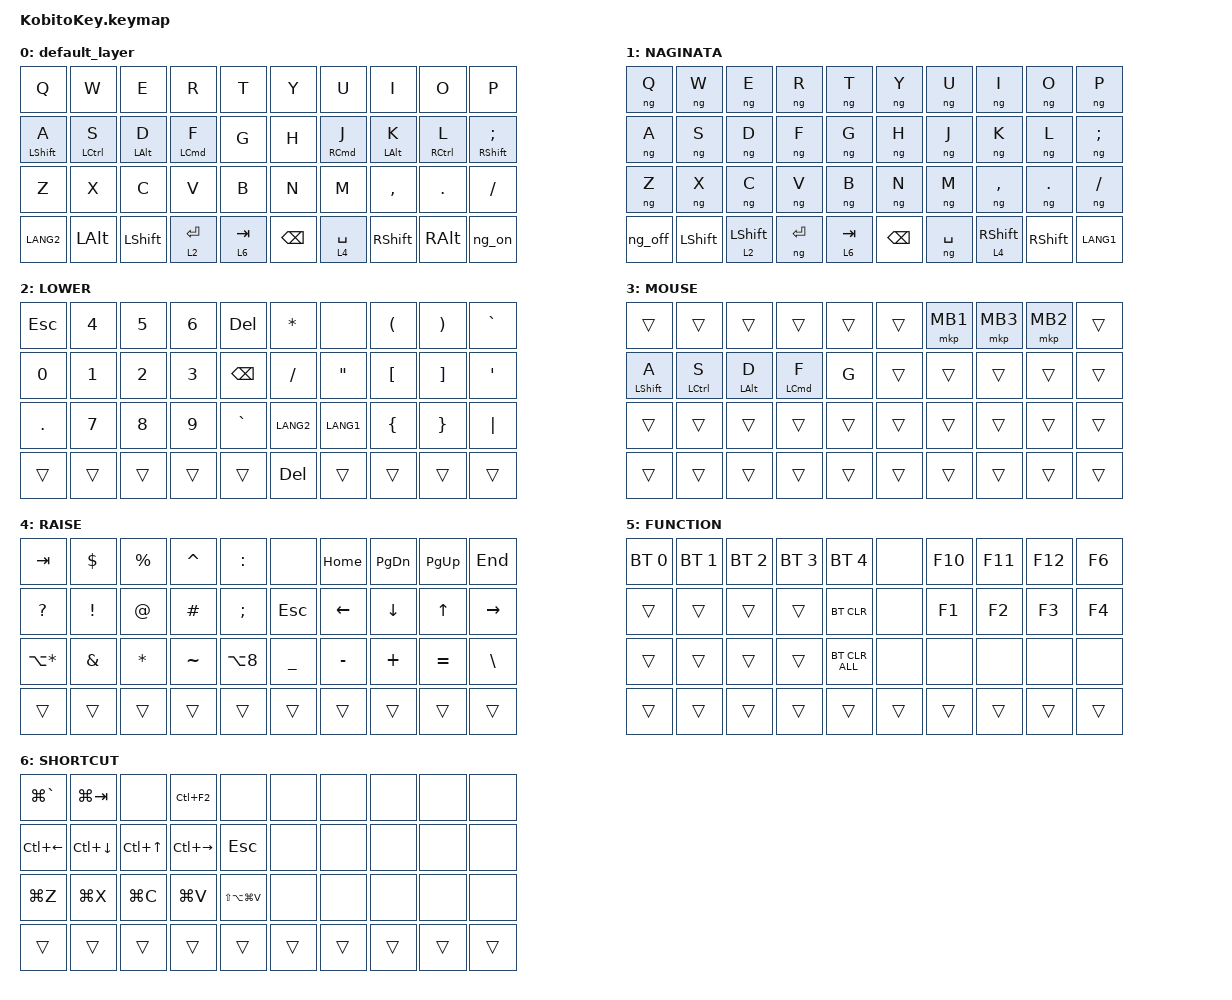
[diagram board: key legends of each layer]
#include <input/processors.dtsi>
#include <behaviors.dtsi>
#include <behaviors/naginata.dtsi>
#include <dt-bindings/zmk/bt.h>
#include <dt-bindings/zmk/keys.h>
#include <dt-bindings/zmk/pointing.h>

&lt {
    flavor = "hold-preferred";
    tapping-term-ms = <200>;
    quick-tap-ms = <175>;
    hold-while-undecided;
};

/ {
    conditional_layers {
        compatible = "zmk,conditional-layers";

        lower_raise_function {
            if-layers = <2 4>;
            then-layer = <5>;
        };
    };

    macros {
        ng_on: ng_on {
            compatible = "zmk,behavior-macro";
            #binding-cells = <0>;
            bindings = <&macro_tap &kp LANG1 &kp INTERNATIONAL_4 &to 1>;
        };

        ng_off: ng_off {
            compatible = "zmk,behavior-macro";
            #binding-cells = <0>;
            bindings = <&macro_tap &kp LANG2 &kp INTERNATIONAL_5 &to 0>;
        };
    };

    behaviors {
        hml: home_row_mod_left {
            compatible = "zmk,behavior-hold-tap";
            #binding-cells = <2>;
            flavor = "balanced";
            tapping-term-ms = <160>;
            quick-tap-ms = <175>;
            require-prior-idle-ms = <200>;
            bindings = <&kp>, <&kp>;
            hold-trigger-key-positions = <5 6 7 8 9 10 11 12 13 15 16 17 18 19 25 26 27 28 29 34 35 36 37 38 39>;
            hold-trigger-on-release;
            hold-while-undecided;
        };

        hmr: home_row_mod_right {
            compatible = "zmk,behavior-hold-tap";
            #binding-cells = <2>;
            flavor = "balanced";
            tapping-term-ms = <160>;
            quick-tap-ms = <175>;
            require-prior-idle-ms = <200>;
            bindings = <&kp>, <&kp>;
            hold-trigger-key-positions = <0 1 2 3 4 10 11 12 13 14 16 17 18 19 20 21 22 23 24 30 31 32 33 34>;
            hold-trigger-on-release;
            hold-while-undecided;
        };
    };

    /*
     * key positions (used by combos and hold-trigger-key-positions):
     * ┌───┬───┬───┬───┬───┐       ┌───┬───┬───┬───┬───┐
     * │ 0 │ 1 │ 2 │ 3 │ 4 │       │ 5 │ 6 │ 7 │ 8 │ 9 │
     * ├───┼───┼───┼───┼───┤       ├───┼───┼───┼───┼───┤
     * │10 │11 │12 │13 │14 │       │15 │16 │17 │18 │19 │
     * ├───┼───┼───┼───┼───┤       ├───┼───┼───┼───┼───┤
     * │20 │21 │22 │23 │24 │       │25 │26 │27 │28 │29 │
     * ├───┼───┼───┼───┼───┤       ├───┼───┼───┼───┼───┤
     * │30 │31 │32 │33 │34 │       │35 │36 │37 │38 │39 │
     * └───┴───┴───┴───┴───┘       └───┴───┴───┴───┴───┘
     */
    combos {
        compatible = "zmk,combos";

        combo_esc {
            timeout-ms = <50>;
            key-positions = <0 1>;
            bindings = <&kp ESC>;
            layers = <0 2 3 4 5 6>;
        };

        combo_tab {
            timeout-ms = <50>;
            key-positions = <10 11>;
            bindings = <&kp TAB>;
            layers = <0 2 3 4 5 6>;
        };

        // NG off (C+V) is handled inside the naginata module, incl. the layer switch
        combo_ng_on {
            timeout-ms = <150>;
            key-positions = <26 27>;
            bindings = <&ng_on>;
            layers = <0>;
        };
    };

    keymap {
        compatible = "zmk,keymap";

        /*
         * ┌───┬───┬───┬───┬───┐       ┌───┬───┬───┬───┬───┐
         * │ Q │ W │ E │ R │ T │       │ Y │ U │ I │ O │ P │
         * ├───┼───┼───┼───┼───┤       ├───┼───┼───┼───┼───┤
         * │ A │ S │ D │ F │ G │       │ H │ J │ K │ L │ ; │
         * ├───┼───┼───┼───┼───┤       ├───┼───┼───┼───┼───┤
         * │ Z │ X │ C │ V │ B │       │ N │ M │ , │ . │ / │
         * ├───┼───┼───┼───┼───┤       ├───┼───┼───┼───┼───┤
         * │Eis│Alt│Sft│Ent│Tab│       │Bsp│Spc│Sft│Alt│NG+│
         * └───┴───┴───┴───┴───┘       └───┴───┴───┴───┴───┘
         * HRM: ⇧A ⌃S ⌥D ⌘F / ⌘J ⌥K ⌃L ⇧;   hold: Ent=LOWER Tab=SHORTCUT Spc=RAISE
         * combos: Q+W=esc  A+S=tab  M+,=NG on
         */
        default_layer {
            bindings = <
&kp Q      &kp W     &kp E     &kp R        &kp T      &kp Y     &kp U        &kp I      &kp O      &kp P
&hml LSHFT A      &hml LCTRL S     &hml LALT D     &hml LCMD F        &kp G      &kp H     &hmr RCMD J        &hmr LALT K      &hmr RCTRL L      &hmr RSHFT SEMI
&kp Z      &kp X     &kp C     &kp V        &kp B      &kp N     &kp M        &kp COMMA  &kp DOT    &kp SLASH
&kp LANG2  &kp LALT  &kp LSHFT  &lt 2 ENTER  &lt 6 TAB  &kp BSPC  &lt 4 SPACE  &kp RSHFT  &kp RALT  &ng_on
            >;
        };

        /*
         * ┌───┬───┬───┬───┬───┐       ┌───┬───┬───┬───┬───┐
         * │N_Q│N_W│N_E│N_R│N_T│       │N_Y│N_U│N_I│N_O│N_P│
         * ├───┼───┼───┼───┼───┤       ├───┼───┼───┼───┼───┤
         * │N_A│N_S│N_D│N_F│N_G│       │N_H│N_J│N_K│N_L│N_;│
         * ├───┼───┼───┼───┼───┤       ├───┼───┼───┼───┼───┤
         * │N_Z│N_X│N_C│N_V│N_B│       │N_N│N_M│N_,│N_.│N_/│
         * ├───┼───┼───┼───┼───┤       ├───┼───┼───┼───┼───┤
         * │NG-│Sft│Sft│Ent│Tab│       │Bsp│Spc│Sft│Sft│Kna│
         * └───┴───┴───┴───┴───┘       └───┴───┴───┴───┴───┘
         * Spc/Ent = 薙刀シフト   hold: Sft(inner)=LOWER/RAISE Tab=SHORTCUT
         * edit modes: hold D+F / J+K / C+V / M+,   C+V alone = NG off
         * hold Sft(outer, plain Shift) = roman passthrough (capitals)
         */
        naginata_layer {
            label = "NAGINATA";
            bindings = <
&ng Q      &ng W     &ng E     &ng R        &ng T      &ng Y     &ng U        &ng I      &ng O      &ng P
&ng A      &ng S     &ng D     &ng F        &ng G      &ng H     &ng J        &ng K      &ng L      &ng SEMI
&ng Z      &ng X     &ng C     &ng V        &ng B      &ng N     &ng M        &ng COMMA  &ng DOT    &ng SLASH
&ng_off    &kp LSHFT  &lt 2 LSHFT  &ng ENTER  &lt 6 TAB  &kp BSPC  &ng SPACE  &lt 4 RSHFT  &kp RSHFT  &kp LANG1
            >;
        };

        /*
         * ┌───┬───┬───┬───┬───┐       ┌───┬───┬───┬───┬───┐
         * │esc│ 4 │ 5 │ 6 │del│       │ * │   │ ( │ ) │ ` │
         * ├───┼───┼───┼───┼───┤       ├───┼───┼───┼───┼───┤
         * │ 0 │ 1 │ 2 │ 3 │bsp│       │ / │ " │ [ │ ] │ ' │
         * ├───┼───┼───┼───┼───┤       ├───┼───┼───┼───┼───┤
         * │ . │ 7 │ 8 │ 9 │ ` │       │Eis│Kna│ { │ } │ | │
         * ├───┼───┼───┼───┼───┤       ├───┼───┼───┼───┼───┤
         * │   │   │   │   │   │       │del│   │   │   │   │
         * └───┴───┴───┴───┴───┘       └───┴───┴───┴───┴───┘
         */
        lower_layer {
            label = "LOWER";
            bindings = <
&kp ESC    &kp N4  &kp N5  &kp N6  &kp DEL    &kp ASTRK  &none     &kp LPAR  &kp RPAR  &kp GRAVE
&kp N0     &kp N1  &kp N2  &kp N3  &kp BSPC   &kp SLASH  &kp DQT   &kp LBKT  &kp RBKT  &kp SQT
&kp DOT    &kp N7  &kp N8  &kp N9  &kp GRAVE  &kp LANG2  &kp LANG1 &kp LBRC  &kp RBRC  &kp PIPE
&trans     &trans  &trans  &trans  &trans      &kp DEL    &trans    &trans    &trans    &trans
            >;
        };

        /*
         * ┌───┬───┬───┬───┬───┐       ┌───┬───┬───┬───┬───┐
         * │   │   │   │   │   │       │   │mb1│mb3│mb2│   │
         * ├───┼───┼───┼───┼───┤       ├───┼───┼───┼───┼───┤
         * │ A │ S │ D │ F │ G │       │   │   │   │   │   │
         * ├───┼───┼───┼───┼───┤       ├───┼───┼───┼───┼───┤
         * │   │   │   │   │   │       │   │   │   │   │   │
         * ├───┼───┼───┼───┼───┤       ├───┼───┼───┼───┼───┤
         * │   │   │   │   │   │       │   │   │   │   │   │
         * └───┴───┴───┴───┴───┘       └───┴───┴───┴───┴───┘
         * auto mouse layer; left HRM active, blank = transparent
         */
        mouse_layer {
            label = "MOUSE";
            bindings = <
&trans     &trans  &trans    &trans    &trans  &trans  &mkp MB1  &mkp MB3  &mkp MB2  &trans
&hml LSHFT A  &hml LCTRL S  &hml LALT D  &hml LCMD F  &kp G  &trans  &trans    &trans    &trans    &trans
&trans     &trans  &trans    &trans    &trans  &trans  &trans    &trans    &trans    &trans
&trans     &trans  &trans    &trans    &trans  &trans  &trans    &trans    &trans    &trans
            >;
        };

        /*
         * ┌───┬───┬───┬───┬───┐       ┌───┬───┬───┬───┬───┐
         * │tab│ $ │ % │ ^ │ : │       │   │Hom│Pdn│Pup│End│
         * ├───┼───┼───┼───┼───┤       ├───┼───┼───┼───┼───┤
         * │ ? │ ! │ @ │ # │ ; │       │esc│ ← │ ↓ │ ↑ │ → │
         * ├───┼───┼───┼───┼───┤       ├───┼───┼───┼───┼───┤
         * │ ° │ & │ * │ ~ │ • │       │ _ │ - │ + │ = │ \ │
         * ├───┼───┼───┼───┼───┤       ├───┼───┼───┼───┼───┤
         * │   │   │   │   │   │       │   │   │   │   │   │
         * └───┴───┴───┴───┴───┘       └───┴───┴───┴───┴───┘
         */
        raise_layer {
            label = "RAISE";
            bindings = <
&kp TAB       &kp DLLR  &kp PRCNT  &kp CARET  &kp COLON    &none      &kp HOME   &kp PG_DN  &kp PG_UP  &kp END
&kp QMARK     &kp EXCL  &kp AT     &kp HASH   &kp SEMI     &kp ESC    &kp LEFT   &kp DOWN   &kp UP     &kp RIGHT
&kp LA(ASTRK) &kp AMPS  &kp ASTRK  &kp TILDE  &kp LA(N8)   &kp UNDER  &kp MINUS  &kp PLUS   &kp EQUAL  &kp BSLH
&trans        &trans    &trans     &trans     &trans       &trans     &trans     &trans     &trans     &trans
            >;
        };

        /*
         * ┌───┬───┬───┬───┬───┐       ┌───┬───┬───┬───┬───┐
         * │BT0│BT1│BT2│BT3│BT4│       │   │F10│F11│F12│F6 │
         * ├───┼───┼───┼───┼───┤       ├───┼───┼───┼───┼───┤
         * │   │   │   │   │Clr│       │   │F1 │F2 │F3 │F4 │
         * ├───┼───┼───┼───┼───┤       ├───┼───┼───┼───┼───┤
         * │   │   │   │   │ClA│       │   │   │   │   │   │
         * ├───┼───┼───┼───┼───┤       ├───┼───┼───┼───┼───┤
         * │   │   │   │   │   │       │   │   │   │   │   │
         * └───┴───┴───┴───┴───┘       └───┴───┴───┴───┴───┘
         * Clr = clear current BT profile, ClA = clear all profiles
         */
        function_layer {
            label = "FUNCTION";
            bindings = <
&bt BT_SEL 0  &bt BT_SEL 1  &bt BT_SEL 2  &bt BT_SEL 3  &bt BT_SEL 4    &none    &kp F10  &kp F11  &kp F12  &kp F6
&trans        &trans        &trans        &trans        &bt BT_CLR      &none    &kp F1   &kp F2   &kp F3   &kp F4
&trans        &trans        &trans        &trans        &bt BT_CLR_ALL  &none    &none    &none    &none    &none
&trans        &trans        &trans        &trans        &trans          &trans   &trans   &trans   &trans   &trans
            >;
        };

        /*
         * ┌───┬───┬───┬───┬───┐       ┌───┬───┬───┬───┬───┐
         * │⌘` │⌘⇥ │   │^F2│   │       │   │   │   │   │   │
         * ├───┼───┼───┼───┼───┤       ├───┼───┼───┼───┼───┤
         * │^← │^↓ │^↑ │^→ │esc│       │   │   │   │   │   │
         * ├───┼───┼───┼───┼───┤       ├───┼───┼───┼───┼───┤
         * │⌘z │⌘x │⌘c │⌘v │⌘v*│       │   │   │   │   │   │
         * ├───┼───┼───┼───┼───┤       ├───┼───┼───┼───┼───┤
         * │   │   │   │   │   │       │   │   │   │   │   │
         * └───┴───┴───┴───┴───┘       └───┴───┴───┴───┴───┘
         * ⌘v* = paste and match style (⇧⌥⌘v)
         */
        shortcut_layer {
            label = "SHORTCUT";
            bindings = <
&kp LG(GRAVE)  &kp LG(TAB)   &none        &kp LC(F2)     &none       &none  &none  &none  &none  &none
&kp LC(LEFT)   &kp LC(DOWN)  &kp LC(UP)   &kp LC(RIGHT)  &kp ESC     &none  &none  &none  &none  &none
&kp LG(Z)      &kp LG(X)     &kp LG(C)    &kp LG(V)      &kp LS(LA(LG(V)))  &none  &none  &none  &none  &none
&trans         &trans        &trans       &trans         &trans      &trans &trans &trans &trans &trans
            >;
        };
    };
};
